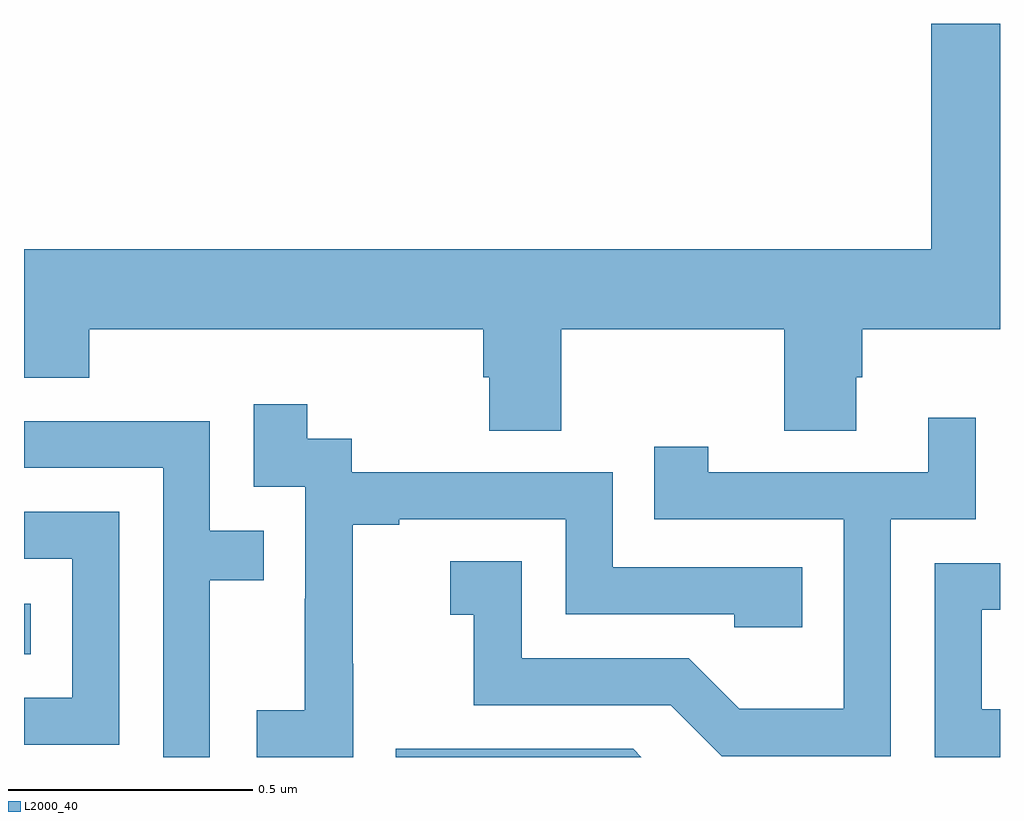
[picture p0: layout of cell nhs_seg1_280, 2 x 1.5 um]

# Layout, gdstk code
import gdstk
lib = gdstk.Library(unit=1e-6, precision=1e-09)
def R(c, l, rs):  # rectangles x0, y0, x1, y1
    for r in rs: c.add(gdstk.rectangle(r[:2], r[2:], *l))
def P(c, l, *ps):  # polygons
    for p in ps: c.add(gdstk.Polygon(p, *l))
L2000_40 = (2000, 40)

nhs_seg1_280 = lib.new_cell('nhs_seg1_280')
R(nhs_seg1_280, L2000_40, [(114,540.41,114.014,540.514)])
P(nhs_seg1_280, L2000_40, [(115.101,541.076),(115.558,541.076),(115.558,540.868),(115.705,540.868),(115.705,540.978),(115.718,540.978),(115.718,541.076),(116,541.076),(116,541.702),(115.859,541.702),(115.859,541.24),(114,541.24),(114,540.977),(114.134,540.977),(114.134,541.076),(114.941,541.076),(114.941,540.978),(114.953,540.978),(114.953,540.868),(115.101,540.868)],
  [(114.675,540.391),(114.674,540.391),(114.674,540.675),(114.769,540.675),(114.769,540.687),(115.11,540.687),(115.11,540.492),(115.455,540.492),(115.455,540.465),(115.595,540.465),(115.595,540.588),(115.206,540.588),(115.206,540.783),(114.672,540.783),(114.672,540.852),(114.58,540.852),(114.58,540.922),(114.471,540.922),(114.471,540.753),(114.576,540.753),(114.576,540.524),(114.575,540.524),(114.575,540.295),(114.477,540.295),(114.477,540.199),(114.675,540.199)],
  [(115.776,540.687),(115.95,540.687),(115.95,540.895),(115.853,540.895),(115.853,540.783),(115.402,540.783),(115.402,540.835),(115.291,540.835),(115.291,540.687),(115.68,540.687),(115.68,540.298),(115.466,540.298),(115.362,540.402),(115.02,540.402),(115.02,540.601),(114.873,540.601),(114.873,540.491),(114.922,540.491),(114.922,540.306),(115.325,540.306),(115.43,540.201),(115.776,540.201)],
  [(114.381,540.562),(114.491,540.562),(114.491,540.663),(114.381,540.663),(114.381,540.888),(114,540.888),(114,540.792),(114.285,540.792),(114.285,540.199),(114.381,540.199)],
  [(114.195,540.702),(114,540.702),(114,540.606),(114.099,540.606),(114.099,540.321),(114,540.321),(114,540.225),(114.195,540.225)],
  [(116,540.297),(115.963,540.297),(115.963,540.501),(116,540.501),(116,540.597),(115.866,540.597),(115.866,540.199),(116,540.199)],
  [(115.248,540.216),(114.762,540.216),(114.762,540.199),(115.265,540.199)])

lib.write_gds('nhs_seg1_280.gds')
